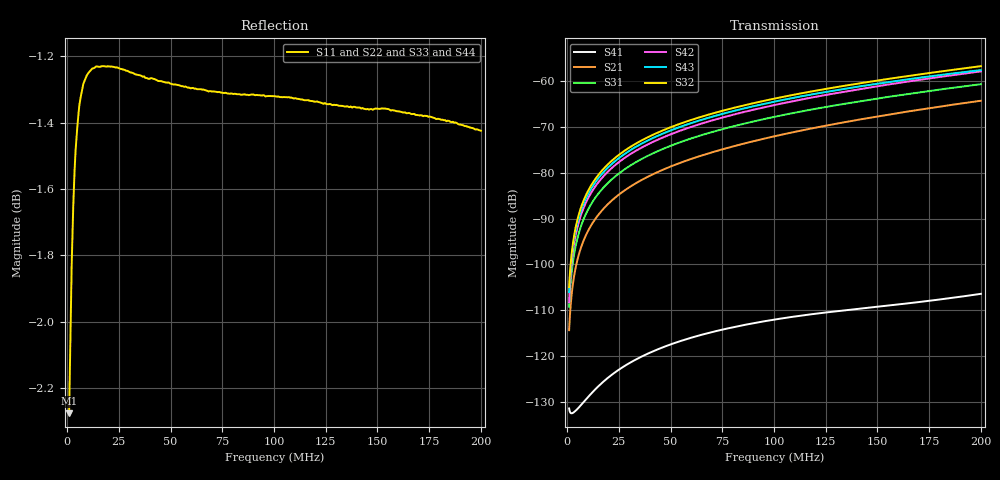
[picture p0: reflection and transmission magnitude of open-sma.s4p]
!SIMULATED forward model. SMA ports A/J2 B/J3 C/J4 D/J5. See electrical-assumptions.json.
! Created with skrf 2.1.0 (http://scikit-rf.org).
# Hz S RI R 50.0
!freq ReS11 ImS11 ReS12 ImS12 ReS13 ImS13
! ReS14 ImS14
! ReS21 ImS21 ReS22 ImS22 ReS23 ImS23
! ReS24 ImS24
! ReS31 ImS31 ReS32 ImS32 ReS33 ImS33
! ReS34 ImS34
! ReS41 ImS41 ReS42 ImS42 ReS43 ImS43
! ReS44 ImS44
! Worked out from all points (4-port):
!   1601 points, 1 MHz to 200 MHz, reference 50 ohm
!   strongest paths, dB at 1 MHz, 50.75 MHz, 100.5 MHz, 150.2 MHz, 200 MHz:
!     S32: -105.0, -69.9, -63.8, -59.8, -56.7
!     S43: -106.0, -70.6, -64.4, -60.5, -57.6
!     S42: -108.3, -71.5, -65.2, -61.1, -57.8
!     S31: -109.3, -74.0, -67.7, -63.7, -60.6
!     S21: -114.4, -78.5, -72.0, -67.7, -64.3
!     S41: -131.5, -117.4, -112.0, -109.2, -106.4
!   lowest |S11| = -2.3 dB at 1 MHz (marker M1), VSWR 7.68, Z = 204 + j188 ohm
!   |S11| at or under -10 dB: nowhere
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1000000  0.746 0.1886  -4.86e-07 -1.87e-06  5.67e-07 -3.4e-06  1.7e-07 -1.89e-07
         -5.14e-07 -1.84e-06  0.7459 0.1894  -2.65e-06 4.99e-06  1.57e-06 -3.5e-06
         5.49e-07 -3.4e-06  -2.57e-06 5.03e-06  0.7458 0.1895  8.38e-07 -4.94e-06
         1.84e-07 -1.93e-07  1.64e-06 -3.48e-06  8.32e-07 -4.92e-06  0.746 0.1888
1.567625e7  0.8568 -0.1377  -6.44e-06 -3.58e-05  -9.39e-06 -6.07e-05  7.56e-08 -4.66e-07
            -6.41e-06 -3.55e-05  0.859 -0.1234  1.23e-05 9.76e-05  -1.15e-05 -8.13e-05
            -9.41e-06 -6.07e-05  1.24e-05 9.75e-05  0.8592 -0.1219  -1.37e-05 -8.94e-05
            9.38e-08 -4.7e-07  -1.14e-05 -8.09e-05  -1.37e-05 -8.94e-05  0.8572 -0.135
2.53775e7  0.8314 -0.2469  -1.68e-05 -5.66e-05  -2.69e-05 -9.59e-05  -1.03e-07 -7.06e-07
           -1.67e-05 -5.62e-05  0.8378 -0.2242  3.91e-05 0.000154  -3.48e-05 -0.000129
           -2.69e-05 -9.59e-05  3.92e-05 0.000154  0.8384 -0.2218  -3.94e-05 -0.000141
           -8.52e-08 -7.11e-07  -3.46e-05 -0.000128  -3.94e-05 -0.000141  0.8327 -0.2426
3.657125e7  0.7871 -0.3582  -3.44e-05 -7.83e-05  -5.63e-05 -0.000132  -3.91e-07 -9.17e-07
            -3.42e-05 -7.76e-05  0.8004 -0.327  8.42e-05 0.000214  -7.4e-05 -0.000177
            -5.63e-05 -0.000132  8.42e-05 0.000213  0.8017 -0.3237  -8.25e-05 -0.000195
            -3.75e-07 -9.24e-07  -7.36e-05 -0.000177  -8.25e-05 -0.000195  0.7897 -0.3523
1.029875e8  0.293 -0.8072  -0.00024 -0.000103  -0.000385 -0.000172  -2.55e-06 -1.65e-07
            -0.000238 -0.000102  0.3827 -0.7673  0.000592 0.000307  -0.000519 -0.000236
            -0.000385 -0.000172  0.000591 0.000307  0.3927 -0.7624  -0.000562 -0.000255
            -2.55e-06 -1.7e-07  -0.000517 -0.000235  -0.000562 -0.000255  0.3085 -0.8006
1.523644e8  -0.2267 -0.8248  -0.000418 7.67e-05  -0.000652 0.000105  -3.01e-06 1.81e-06
            -0.000414 7.62e-05  -0.0771 -0.8497  0.00104 -7.2e-05  -0.000893 0.000141
            -0.000652 0.000106  0.00104 -7.19e-05  -0.0582 -0.8515  -0.000947 0.000145
            -2.99e-06 1.81e-06  -0.000889 0.000141  -0.000947 0.000145  -0.204 -0.8293
2e8  -0.6697 -0.5215  -0.000436 0.000437  -0.000674 0.00064  -2.51e-06 4.11e-06
     -0.000433 0.000434  -0.5188 -0.668  0.00118 -0.000866  -0.000934 0.000887
     -0.000674 0.00064  0.00118 -0.000866  -0.4955 -0.6861  -0.000971 0.000901
     -2.48e-06 4.07e-06  -0.00093 0.000884  -0.000971 0.000901  -0.6509 -0.5419
